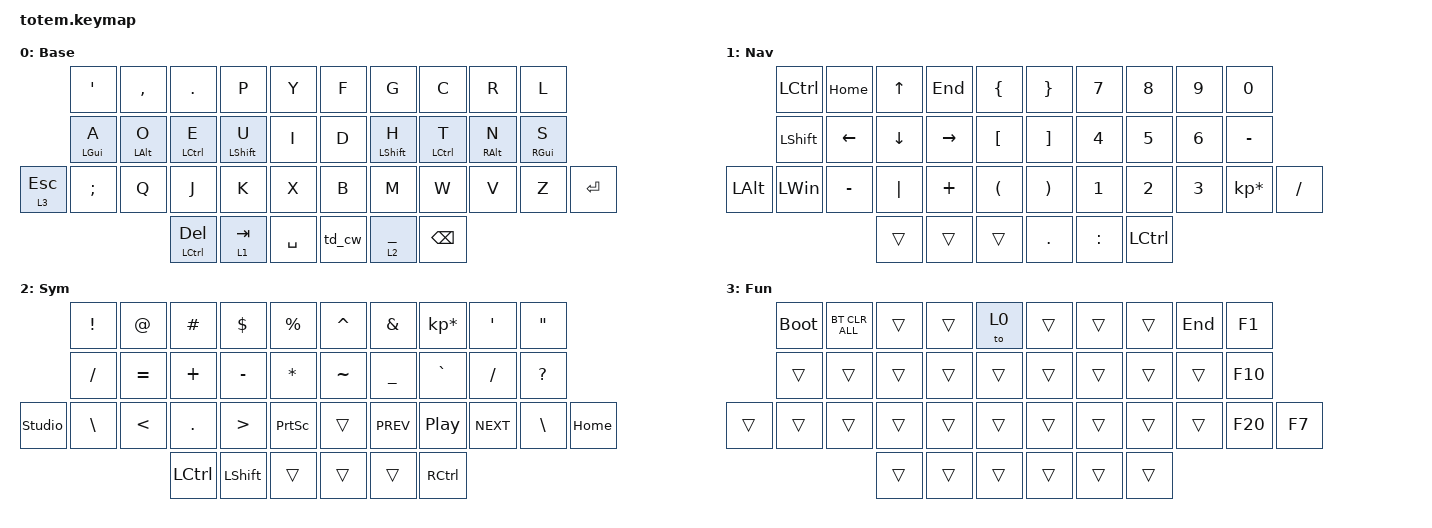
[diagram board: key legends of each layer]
//
//                                                        ▀▀▀▀▀     ▀▀▀▀▀          ▀▀█▀▀
//                                                        ▄▀▀▀▄  ▄  ▄▀▀▀▄  ▄  ▄▀▀▀▄  █  ▄▀▀▀▄
//                                                        █   █  █  █   █  █  █   █  █  █   █
//                                                         ▀▀▀   █   ▀▀▀   █   ▀▀▀   ▀   ▀▀▀
//                                                               █      ▄▄▄█▄▄▄    █   █  
//                                                               ▀      █  █  █     █▄█
//                                                             ▀▀▀▀▀    █  █  █      ▀
//                                                                      ▀  ▀  ▀
//
// ▄▄▄▄▄▄▄▄▄▄▄▄▄▄▄▄▄▄▄▄▄▄▄▄▄▄▄▄▄▄▄▄▄▄▄▄▄▄▄▄▄▄▄▄▄▄▄▄▄▄▄▄▄▄▄▄▄▄▄▄▄▄▄▄▄▄▄▄▄▄▄▄▄▄▄▄▄▄▄▄▄▄▄▄▄▄▄▄▄▄▄▄▄▄▄▄▄▄▄▄▄▄▄▄▄▄▄▄▄▄▄▄▄▄▄▄▄▄▄▄▄▄▄▄▄▄▄▄▄▄▄▄▄▄▄▄▄▄▄▄▄▄▄▄▄▄▄▄▄

#include <behaviors.dtsi>
#include <dt-bindings/zmk/bt.h>
#include <dt-bindings/zmk/keys.h>

#define Base        0
#define Nav         1
#define Sym         2
#define Fun         3
#define Game        4
#define Gameplus    5

&mt {
    quick-tap-ms = <100>;
    global-quick-tap;
    flavor = "tap-preferred";
    tapping-term-ms = <170>;
};

&lt {
    tapping-term-ms = <240>;
    flavor = "balanced";
    quick-tap-ms = <150>;
};

/ {
    behaviors {
        hm: homerow_mods {
            compatible = "zmk,behavior-hold-tap";
            label = "HOMEROW_MODS";
            #binding-cells = <2>;
            flavor = "tap-preferred";
            tapping-term-ms = <200>;
            global-quick-tap;
            bindings = <&kp>, <&kp>;

            require-prior-idle-ms = <150>;
        };

        td_cw: td_cw {
            compatible = "zmk,behavior-tap-dance";
            label = "TD_CW";
            #binding-cells = <0>;
            tapping-term-ms = <200>;
            bindings = <&sk LEFT_SHIFT>, <&caps_word>;
        };
    };

    combos {
        compatible = "zmk,combos";

        Backslash {
            bindings = <&kp NON_US_BACKSLASH>;
            key-positions = <0 1>;
        };

        FwdSlash {
            bindings = <&kp SLASH>;
            key-positions = <8 9>;
        };

        Layer3 {
            bindings = <&tog 3>;
            key-positions = <1 2 3>;
        };

        Enter {
            bindings = <&kp ENTER>;
            key-positions = <16 17 18>;
        };

        tab {
            bindings = <&kp TAB>;
            key-positions = <11 12 10>;
        };

        win_ws_left {
            bindings = <&win_ws_left>;
            key-positions = <20 10>;
        };

        win_ws_right {
            bindings = <&win_ws_right>;
            key-positions = <19 31>;
        };
    };

    macros {
        win_ws_right: win_ws_right {
            compatible = "zmk,behavior-macro";
            #binding-cells = <0>;
            bindings = <&kp LC(LG(RIGHT))>;
            label = "WIN_WS_RIGHT";
        };

        win_ws_left: win_ws_left {
            compatible = "zmk,behavior-macro";
            #binding-cells = <0>;
            bindings = <&kp LC(LG(LEFT))>;
            label = "WIN_WS_LEFT";
        };
    };

    keymap {
        compatible = "zmk,keymap";

        Base {
            display-name = "Base";
            bindings = <
              &kp APOSTROPHE  &kp COMMA   &kp DOT           &kp P             &kp Y        &kp F   &kp G             &kp C          &kp R       &kp L
              &hm LGUI A      &hm LALT O  &hm LCTRL E       &hm LEFT_SHIFT U  &kp I        &kp D   &hm LEFT_SHIFT H  &hm LCTRL T    &hm RALT N  &hm RGUI S
&lt 3 ESCAPE  &kp SEMICOLON   &kp Q       &kp J             &kp K             &kp X        &kp B   &kp M             &kp W          &kp V       &kp Z       &kp RETURN
                                          &mt LCTRL DELETE  &lt 1 TAB         &kp SPACE    &td_cw  &lt 2 UNDER       &kp BACKSPACE
            >;
        };

        Nav {
            display-name = "Nav";
            bindings = <
              &kp LCTRL       &kp HOME   &kp UP_ARROW  &kp END    &kp LBRC    &kp RBRC    &kp NUMBER_7  &kp NUMBER_8  &kp NUMBER_9  &kp NUMBER_0
              &kp LEFT_SHIFT  &kp LEFT   &kp DOWN      &kp RIGHT  &kp LBKT    &kp RBKT    &kp NUMBER_4  &kp NUMBER_5  &kp NUMBER_6  &kp MINUS
&kp LEFT_ALT  &kp LEFT_WIN    &kp MINUS  &kp PIPE      &kp PLUS   &kp LPAR    &kp RPAR    &kp NUMBER_1  &kp NUMBER_2  &kp NUMBER_3  &kp KP_MULTIPLY  &kp SLASH
                                         &trans        &trans     &trans      &kp PERIOD  &kp COLON     &kp LCTRL
            >;
        };

        Sym {
            display-name = "Sym";
            bindings = <
                &kp EXCL       &kp AT         &kp HASH    &kp DOLLAR        &kp PERCENT        &kp CARET  &kp AMPERSAND  &kp KP_ASTERISK   &kp SQT     &kp DQT
                &kp SLASH      &kp EQUAL      &kp PLUS    &kp MINUS         &kp ASTERISK       &kp TILDE  &kp UNDER      &kp GRAVE         &kp SLASH   &kp QUESTION
&studio_unlock  &kp BACKSLASH  &kp LESS_THAN  &kp PERIOD  &kp GREATER_THAN  &kp PRINTSCREEN    &trans     &kp C_PREV     &kp C_PLAY_PAUSE  &kp C_NEXT  &kp BACKSLASH  &kp HOME
                                              &kp LCTRL   &kp LSHFT         &trans             &trans     &trans         &kp RCTRL
            >;
        };

        Fun {
            display-name = "Fun";
            bindings = <
        &bootloader  &bt BT_CLR_ALL  &trans  &trans  &to 0     &trans  &trans  &trans  &kp END  &kp F1
        &trans       &trans          &trans  &trans  &trans    &trans  &trans  &trans  &trans   &kp F10
&trans  &trans       &trans          &trans  &trans  &trans    &trans  &trans  &trans  &trans   &kp F20  &kp F7
                                     &trans  &trans  &trans    &trans  &trans  &trans
            >;
        };
    };
};
